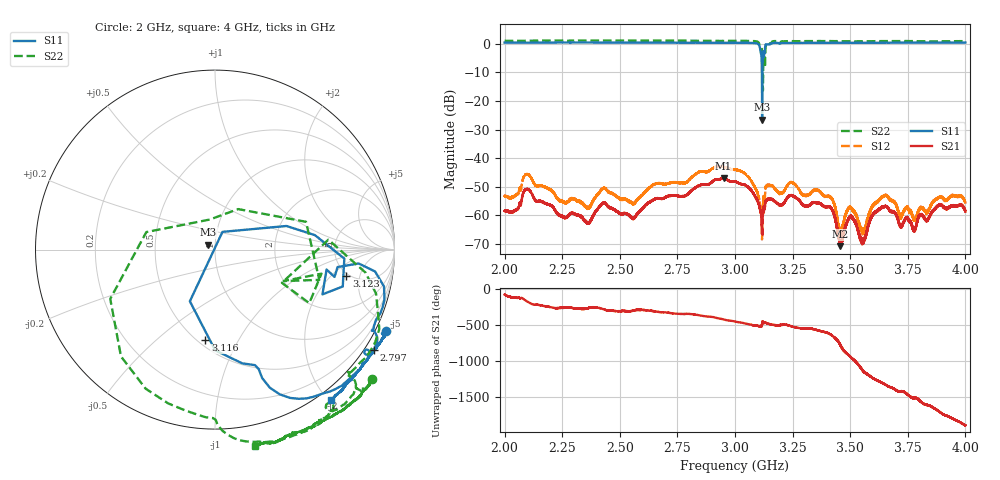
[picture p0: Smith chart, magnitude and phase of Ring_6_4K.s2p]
!Agilent Technologies,N5230C,SG49000117,A.08.50.07
!Agilent N5230C: A.08.50.07
!Date: Thursday, May 09, 2024 01:55:19
!Correction: S11(Full 2 Port(1,2))
!S21(Full 2 Port(1,2))
!S12(Full 2 Port(1,2))
!S22(Full 2 Port(1,2))
!S2P File: Measurements: S11, S21, S12, S22:
# Hz S  MA  R 50
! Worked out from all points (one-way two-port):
!   20001 points, 2 GHz to 4 GHz, reference 50 ohm
!   highest |S21| = -47.10 dB at 2.95 GHz (marker M1); lowest = -70.9 dB at 3.457 GHz (marker M2)
!   lowest |S11| = -26.6 dB at 3.118 GHz (marker M3), VSWR 1.10, Z = 46.3 + j2.63 ohm
!   |S11| at or under -10 dB: 3.116714 GHz to 3.118744 GHz (2.03 MHz wide, 0.0651 % of centre)
!   |S22| runs from -16.4 to 1.2 dB; largest |S21 - S12| = 0.004
!   S11 on the Smith chart (normalised r, x): 2 GHz: -0.56, -4.39; 2.797 GHz: -0.31, -3.44; 3.116 GHz: 0.54, -0.74; 3.123 GHz: 4.77, -3.13; 4 GHz: -0.15, -2.03
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2e9  1.056 -25.3  0.001185 -82.5  0.002144 -101.9  1.133 -39.5
2.0978e9  1.051 -25.8  0.002877 -178.5  0.005176 162.9  1.136 -40.6
2.3334e9  1.062 -27.3  0.0009393 77.0  0.00163 58.4  1.143 -44.5
2.6667e9  1.054 -30.2  0.001981 36.6  0.00365 12.6  1.142 -50.1
2.7975e9  1.049 -32.2  0.002379 9.6  0.004036 -13.8  1.138 -53.1
2.9505e9  1.047 -35.5  0.004415 -67.3  0.007024 -94.6  1.129 -57.9
3e9  1.046 -37.2  0.003876 -97.0  0.006241 -123.1  1.129 -60.1
3.0961e9  1.017 -50.9  0.001862 -155.8  0.002513 175.2  1.095 -77.3
3.1158e9  0.5077 -96.1  0.0006889 -163.4  0.0006177 173.1  0.849 -120.4
3.1177e9  0.04696 142.9  0.0005354 -127.8  0.0004378 -133.6  0.6879 -148.3
3.1226e9  0.7467 -11.2  0.001248 -110.5  0.001842 -108.7  0.4205 36.4
3.1413e9  0.9805 -24.6  0.001903 -125.6  0.003329 -142.1  1.025 -37.6
3.1807e9  1.044 -33.0  0.001651 -147.7  0.002709 -171.3  1.121 -52.1
3.3334e9  1.048 -39.7  0.001596 163.0  0.002534 138.9  1.123 -61.6
3.417e9  1.047 -41.2  0.001317 78.9  0.002033 52.1  1.121 -64.2
3.4574e9  1.048 -42.0  0.0002861 -66.1  0.0005088 -84.5  1.116 -65.7
3.4986e9  1.046 -42.9  0.0009468 140.9  0.001367 108.1  1.111 -67.0
3.5558e9  1.048 -44.2  0.0003859 -61.7  0.0005618 -83.3  1.113 -68.7
3.6667e9  1.05 -46.7  0.001292 81.6  0.002031 54.1  1.12 -71.6
3.7771e9  1.056 -48.5  0.0005483 -79.1  0.0008082 -113.2  1.121 -74.7
3.8859e9  1.053 -50.2  0.001506 95.2  0.002069 66.5  1.114 -76.5
4e9  1.059 -52.4  0.001147 -97.4  0.00158 -128.1  1.12 -78.5
